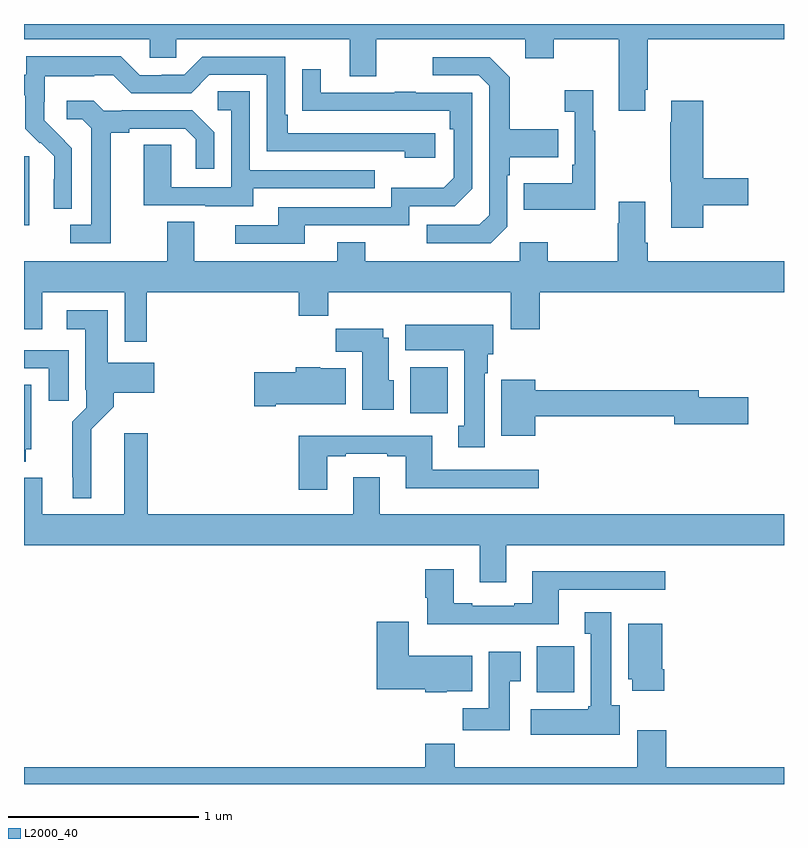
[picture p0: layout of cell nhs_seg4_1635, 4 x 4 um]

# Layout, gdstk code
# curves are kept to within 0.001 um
import gdstk
lib = gdstk.Library(unit=1e-6, precision=1e-09)
def R(c, l, rs):  # rectangles x0, y0, x1, y1
    for r in rs: c.add(gdstk.rectangle(r[:2], r[2:], *l))
def P(c, l, *ps):  # polygons
    for p in ps: c.add(gdstk.Polygon(p, *l))
L2000_40 = (2000, 40)

nhs_seg4_1635 = lib.new_cell('nhs_seg4_1635')
R(nhs_seg4_1635, L2000_40, [(197.699,793.382,197.896,793.624), (197.033,794.852,197.23,795.094), (195,795.842,195.028,796.203)])
P(nhs_seg4_1635, L2000_40, [(198.271,796.555),(198.284,796.555),(198.284,796.82),(199,796.82),(199,796.9),(195,796.9),(195,796.82),(195.663,796.82),(195.663,796.722),(195.801,796.722),(195.801,796.82),(196.715,796.82),(196.715,796.626),(196.855,796.626),(196.855,796.82),(197.639,796.82),(197.639,796.721),(197.787,796.721),(197.787,796.82),(198.131,796.82),(198.131,796.443),(198.271,796.443)],
  [(195.252,796.246),(195.106,796.394),(195.106,796.491),(195.108,796.491),(195.108,796.625),(195.371,796.625),(195.371,796.629),(195.471,796.629),(195.564,796.536),(195.879,796.536),(195.975,796.632),(196.278,796.632),(196.278,796.23),(197.003,796.23),(197.003,796.196),(197.164,796.196),(197.164,796.326),(196.387,796.326),(196.387,796.423),(196.374,796.423),(196.374,796.728),(195.939,796.728),(195.843,796.632),(195.725,796.632),(195.725,796.629),(195.609,796.629),(195.509,796.729),(195.012,796.729),(195.012,796.632),(195,796.632),(195,796.524),(195.007,796.524),(195.007,796.349),(195.084,796.272),(195.087,796.275),(195.158,796.205),(195.158,796.082),(195.156,796.082),(195.156,795.928),(195.252,795.928)],
  [(197.544,795.834),(197.544,796.103),(197.557,796.103),(197.557,796.199),(197.813,796.199),(197.813,796.347),(197.557,796.347),(197.557,796.619),(197.451,796.725),(197.151,796.725),(197.151,796.629),(197.394,796.629),(197.448,796.575),(197.448,795.894),(197.397,795.843),(197.121,795.843),(197.121,795.747),(197.457,795.747)],
  [(196.477,795.84),(197.028,795.84),(197.028,795.942),(197.268,795.942),(197.358,796.032),(197.358,796.539),(197.063,796.539),(197.063,796.544),(196.951,796.544),(196.951,796.539),(196.561,796.539),(196.561,796.663),(196.465,796.663),(196.465,796.444),(197.242,796.443),(197.242,796.346),(197.262,796.346),(197.262,796.092),(197.209,796.039),(196.932,796.039),(196.932,795.936),(196.337,795.936),(196.337,795.84),(196.113,795.84),(196.113,795.744),(196.477,795.744)],
  [(198.007,796.339),(197.995,796.339),(197.995,796.552),(197.847,796.552),(197.847,796.439),(197.898,796.439),(197.898,796.159),(197.886,796.159),(197.886,796.063),(197.629,796.063),(197.629,795.923),(198.007,795.923)],
  [(196.207,796.035),(196.847,796.035),(196.847,796.131),(196.188,796.131),(196.188,796.547),(196.02,796.547),(196.02,796.446),(196.092,796.446),(196.092,796.041),(195.774,796.041),(195.774,796.265),(195.629,796.265),(195.629,795.945),(195.953,795.945),(195.953,795.941),(196.207,795.941)],
  [(198.575,795.946),(198.811,795.946),(198.811,796.088),(198.575,796.088),(198.575,796.495),(198.407,796.495),(198.407,796.382),(198.4,796.382),(198.4,796.071),(198.407,796.071),(198.407,795.828),(198.575,795.828)],
  [(195.457,796.328),(195.553,796.328),(195.553,796.35),(195.848,796.35),(195.905,796.293),(195.905,796.137),(196.002,796.137),(196.002,796.33),(195.886,796.446),(195.514,796.446),(195.514,796.443),(195.42,796.443),(195.368,796.495),(195.225,796.495),(195.225,796.398),(195.306,796.398),(195.353,796.351),(195.353,795.843),(195.243,795.843),(195.243,795.747),(195.457,795.747)],
  [(195.647,795.488),(196.445,795.488),(196.445,795.364),(196.601,795.364),(196.601,795.488),(197.561,795.488),(197.561,795.294),(197.714,795.294),(197.714,795.488),(199,795.488),(199,795.652),(198.284,795.652),(198.284,795.748),(198.271,795.748),(198.271,795.964),(198.131,795.964),(198.131,795.851),(198.124,795.851),(198.124,795.652),(197.757,795.652),(197.757,795.751),(197.61,795.751),(197.61,795.652),(196.797,795.652),(196.797,795.751),(196.649,795.751),(196.649,795.652),(195.895,795.652),(195.895,795.86),(195.755,795.86),(195.755,795.652),(195,795.652),(195,795.294),(195.097,795.294),(195.097,795.488),(195.531,795.488),(195.531,795.228),(195.647,795.228)],
  [(195.355,794.768),(195.473,794.886),(195.473,794.96),(195.685,794.96),(195.685,795.118),(195.442,795.118),(195.442,795.394),(195.225,795.394),(195.225,795.293),(195.323,795.293),(195.323,794.974),(195.327,794.974),(195.327,794.88),(195.253,794.806),(195.253,794.515),(195.257,794.515),(195.257,794.405),(195.355,794.405)],
  [(197.425,795.062),(197.44,795.062),(197.44,795.162),(197.47,795.162),(197.47,795.316),(197.006,795.316),(197.006,795.182),(197.318,795.182),(197.318,794.786),(197.285,794.786),(197.285,794.673),(197.425,794.673)],
  [(196.945,795.024),(196.921,795.024),(196.921,795.25),(196.891,795.25),(196.891,795.295),(196.642,795.295),(196.642,795.176),(196.781,795.176),(196.781,794.87),(196.945,794.87)],
  [(195.235,795.183),(195,795.183),(195,795.087),(195.131,795.087),(195.131,794.916),(195.235,794.916)],
  [(196.324,794.9),(196.693,794.9),(196.693,795.088),(196.56,795.088),(196.56,795.094),(196.43,795.094),(196.43,795.066),(196.212,795.066),(196.212,794.888),(196.324,794.888)],
  [(197.692,794.836),(198.422,794.836),(198.422,794.794),(198.811,794.794),(198.811,794.936),(198.55,794.936),(198.55,794.972),(197.692,794.972),(197.692,795.028),(197.513,795.028),(197.513,794.732),(197.692,794.732)],
  [(195.01,794.661),(195.037,794.661),(195.037,795.002),(195,795.002),(195,794.597),(195.01,794.597)],
  [(197.539,794.156),(199,794.156),(199,794.32),(196.873,794.32),(196.873,794.515),(196.733,794.515),(196.733,794.32),(195.65,794.32),(195.65,794.746),(195.527,794.746),(195.527,794.32),(195.097,794.32),(195.097,794.512),(195,794.512),(195,794.156),(197.399,794.156),(197.399,793.962),(197.539,793.962)],
  [(196.597,794.625),(196.693,794.625),(196.693,794.637),(196.913,794.637),(196.913,794.625),(197.009,794.625),(197.009,794.456),(197.71,794.456),(197.71,794.553),(197.149,794.553),(197.149,794.734),(196.445,794.734),(196.445,794.448),(196.597,794.448)],
  [(197.815,793.923),(198.376,793.923),(198.376,794.02),(197.675,794.02),(197.675,793.852),(197.579,793.852),(197.579,793.839),(197.359,793.839),(197.359,793.852),(197.263,793.852),(197.263,794.029),(197.111,794.029),(197.111,793.881),(197.123,793.881),(197.123,793.742),(197.815,793.742)],
  [(198.136,793.314),(198.091,793.314),(198.091,793.804),(197.951,793.804),(197.951,793.691),(197.984,793.691),(197.984,793.308),(197.971,793.308),(197.971,793.294),(197.667,793.294),(197.667,793.16),(198.136,793.16)],
  [(197.226,793.388),(197.359,793.388),(197.359,793.576),(197.026,793.576),(197.026,793.753),(196.856,793.753),(196.856,793.4),(197.112,793.4),(197.112,793.382),(197.226,793.382)],
  [(198.371,793.504),(198.358,793.504),(198.358,793.744),(198.179,793.744),(198.179,793.452),(198.2,793.452),(198.2,793.392),(198.371,793.392)],
  [(197.557,793.441),(197.614,793.441),(197.614,793.597),(197.447,793.597),(197.447,793.3),(197.308,793.3),(197.308,793.182),(197.557,793.182)],
  [(199,792.988),(198.38,792.988),(198.38,793.183),(198.227,793.183),(198.227,792.988),(197.267,792.988),(197.267,793.112),(197.111,793.112),(197.111,792.988),(195,792.988),(195,792.9),(199,792.9)])

lib.write_gds('nhs_seg4_1635.gds')
